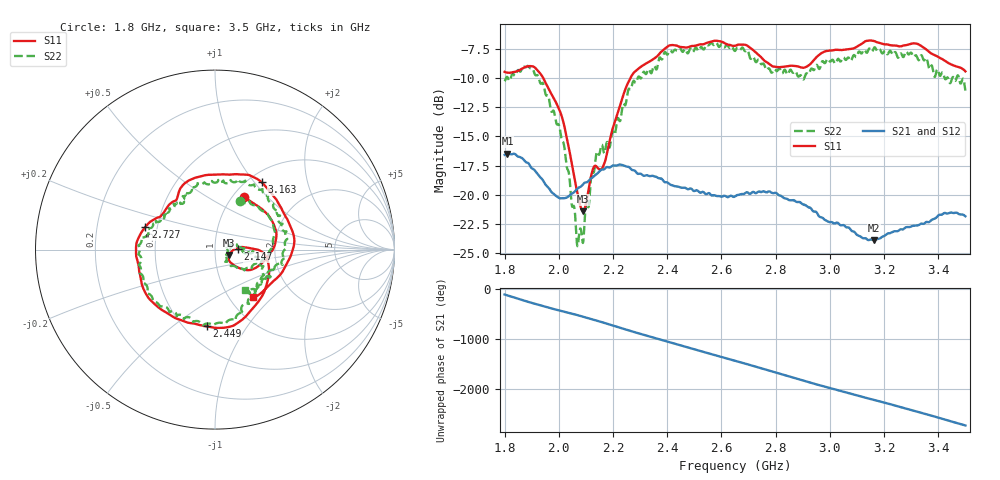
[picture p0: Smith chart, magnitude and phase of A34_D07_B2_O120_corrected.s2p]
! Created with skrf 1.9.0 (http://scikit-rf.org).
# Hz S RI R 50.0
!freq ReS11 ImS11 ReS21 ImS21 ReS12 ImS12 ReS22 ImS22
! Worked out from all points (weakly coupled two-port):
!   1601 points, 1.8 GHz to 3.5 GHz, reference 50 ohm
!   highest |S21| = -16.47 dB at 1.811 GHz (marker M1); lowest = -23.9 dB at 3.162 GHz (marker M2)
!   lowest |S11| = -21.4 dB at 2.09 GHz (marker M3), VSWR 1.19, Z = 58.5 - j3.6 ohm
!   |S11| at or under -10 dB: 1.943 GHz to 2.264 GHz (321 MHz wide, 15.3 % of centre)
!   |S22| runs from -24.4 to -7.0 dB; largest |S21 - S12| = 0.0027
!   S11 on the Smith chart (normalised r, x): 1.8 GHz: 1.12, +0.75; 2.147 GHz: 1.30, +0.00; 2.449 GHz: 0.64, -0.67; 2.727 GHz: 0.43, +0.13; 3.163 GHz: 1.15, +1.09; 3.5 GHz: 1.27, -0.76
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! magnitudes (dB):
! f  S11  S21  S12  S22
! 1.8 GHz  -9.5  -16.6  -16.6  -10.3
! 1.811 GHz  -9.5  -16.5  -16.5  -9.9
! 1.885 GHz  -9.0  -17.3  -17.3  -9.0
! 1.941 GHz  -9.9  -18.8  -18.8  -10.4
! 2.013 GHz  -13.4  -20.3  -20.3  -15.4
! 2.067 GHz  -19.6  -19.5  -19.5  -24.1
! 2.084 GHz  -21.2  -19.3  -19.2  -23.3
! 2.09 GHz  -21.4  -19.1  -19.1  -24.0
! 2.126 GHz  -17.8  -18.5  -18.5  -18.1
! 2.147 GHz  -17.8  -18.1  -18.0  -16.6
! 2.188 GHz  -15.4  -17.7  -17.7  -15.9
! 2.263 GHz  -10.0  -17.7  -17.7  -11.0
! 2.367 GHz  -8.0  -18.6  -18.5  -8.6
! 2.449 GHz  -7.3  -19.4  -19.4  -7.5
! 2.65 GHz  -7.2  -20.1  -20.1  -7.7
! 2.727 GHz  -7.8  -19.9  -19.9  -8.6
! 2.797 GHz  -9.0  -19.8  -19.8  -9.2
! 2.934 GHz  -8.6  -21.3  -21.3  -9.2
! 3.162 GHz  -6.8  -23.9  -23.9  -7.4
! 3.163 GHz  -6.8  -23.9  -23.9  -7.4
! 3.217 GHz  -7.1  -23.3  -23.3  -7.8
! 3.5 GHz  -9.4  -21.8  -21.8  -11.1
